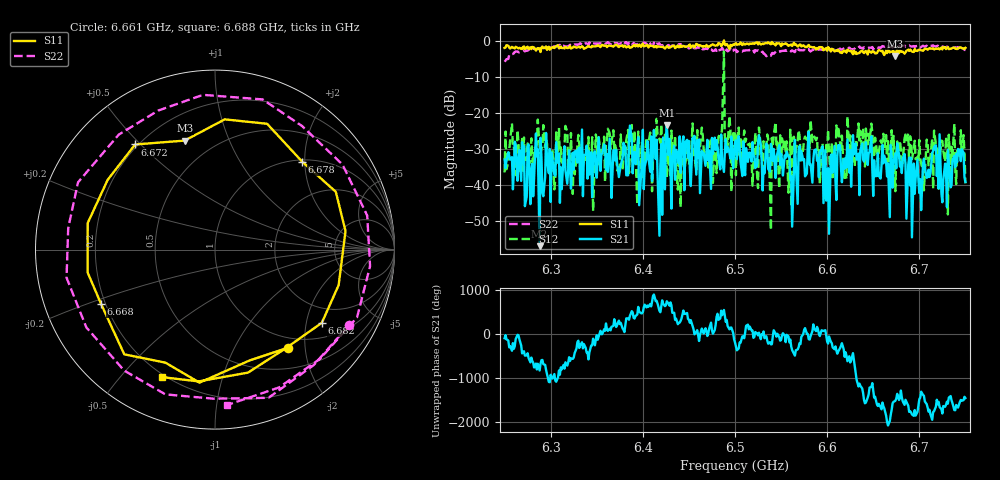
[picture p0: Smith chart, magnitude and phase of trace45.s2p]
# Hz S RI R 50
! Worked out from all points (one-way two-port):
!   401 points, 6.25 GHz to 6.75 GHz, reference 50 ohm
!   highest |S21| = -23.32 dB at 6.426 GHz (marker M1); lowest = -56.9 dB at 6.288 GHz (marker M2)
!   lowest |S11| = -4.0 dB at 6.674 GHz (marker M3), VSWR 4.41, Z = 17.4 + j35 ohm
!   |S11| at or under -10 dB: nowhere
!   |S22| runs from -5.6 to -0.1 dB; largest |S21 - S12| = 0.72
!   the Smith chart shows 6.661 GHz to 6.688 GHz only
!   S11 on the Smith chart (normalised r, x): 6.661 GHz: 0.82, -1.68; 6.668 GHz: 0.18, -0.22; 6.672 GHz: 0.19, +0.48; 6.678 GHz: 1.04, +1.94; 6.682 GHz: 1.45, -2.47; 6.688 GHz: 0.19, -0.65
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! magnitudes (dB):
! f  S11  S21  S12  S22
! 6.25 GHz  -1.8  -32.8  -36.4  -5.6
! 6.288 GHz  -2.0  -56.9  -29.4  -2.0
! 6.334 GHz  -1.4  -24.5  -29.6  -0.9
! 6.418 GHz  -1.5  -54.0  -27.1  -0.5
! 6.426 GHz  -1.3  -23.3  -37.8  -1.2
! 6.479 GHz  -1.1  -30.1  -29.2  -2.2
! 6.485 GHz  -1.2  -25.9  -27.4  -2.3
! 6.5 GHz  -0.7  -28.3  -25.0  -2.4
! 6.542 GHz  -0.6  -29.9  -26.2  -3.4
! 6.559 GHz  -1.1  -32.1  -36.3  -2.3
! 6.584 GHz  -1.6  -39.3  -27.9  -2.4
! 6.595 GHz  -1.7  -29.2  -28.3  -2.3
! 6.601 GHz  -1.6  -35.3  -24.5  -2.2
! 6.63 GHz  -3.4  -30.3  -34.6  -1.9
! 6.661 GHz  -3.3  -33.9  -25.7  -1.3
! 6.668 GHz  -3.1  -48.9  -37.4  -1.5
! 6.672 GHz  -2.7  -33.6  -26.3  -1.4
! 6.674 GHz  -4.0  -31.2  -41.6  -1.6
! 6.678 GHz  -3.2  -31.5  -32.5  -1.1
! 6.682 GHz  -2.8  -32.5  -33.1  -1.2
! 6.688 GHz  -2.3  -34.2  -25.6  -1.2
! 6.75 GHz  -1.8  -39.1  -39.4  -2.3
